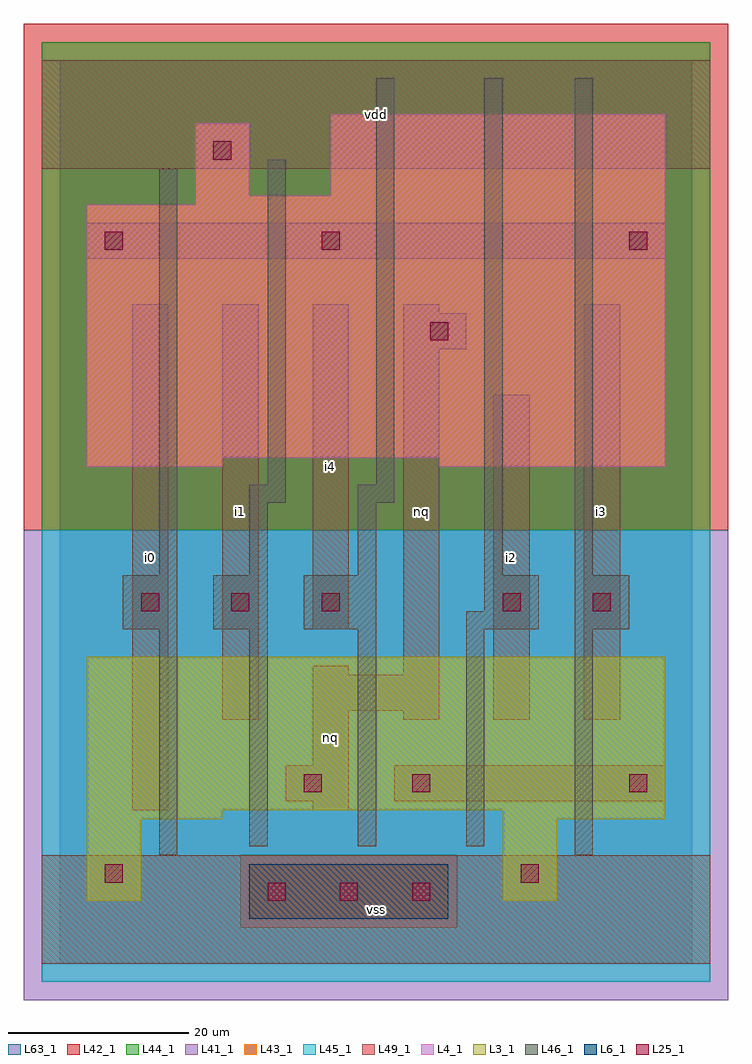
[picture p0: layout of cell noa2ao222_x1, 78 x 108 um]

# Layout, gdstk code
import gdstk
lib = gdstk.Library(unit=1e-6, precision=1e-09)
def R(c, l, rs):  # rectangles x0, y0, x1, y1
    for r in rs: c.add(gdstk.rectangle(r[:2], r[2:], *l))
def A(c, l, x, y, w, h, nx, ny, dx, dy):  # array of equal rectangles
    R(c, l, [(x+i*dx, y+j*dy, x+i*dx+w, y+j*dy+h) for i in range(nx) for j in range(ny)])
L3_1 = (3, 1)
L4_1 = (4, 1)
L6_1 = (6, 1)
L25_1 = (25, 1)
L41_1 = (41, 1)
L42_1 = (42, 1)
L43_1 = (43, 1)
L44_1 = (44, 1)
L45_1 = (45, 1)
L46_1 = (46, 1)
L49_1 = (49, 1)
L63_1 = (63, 1)

noa2ao222_x1 = lib.new_cell('noa2ao222_x1')
R(noa2ao222_x1, L3_1, [(3,7,9,16), (49,7,55,16), (3,16,18,17), (49,16,67,17), (3,17,67,34)])
R(noa2ao222_x1, L4_1, [(3,55,18,56), (42,55,67,56), (3,56,67,84), (15,84,67,85), (15,85,21,93), (30,85,67,94)])
R(noa2ao222_x1, L6_1, [(21,5,43,11), (21,5,43,11)])
A(noa2ao222_x1, L25_1, 23, 7, 2, 2, 3, 1, 8, 0)
A(noa2ao222_x1, L25_1, 9, 39, 2, 2, 3, 1, 10, 0)
R(noa2ao222_x1, L25_1, [(5,9,7,11), (51,9,53,11), (27,19,29,21), (39,19,41,21), (63,19,65,21), (49,39,51,41), (59,39,61,41), (41,69,43,71), (5,79,7,81), (29,79,31,81), (63,79,65,81), (17,89,19,91)])
R(noa2ao222_x1, L41_1, [(-4,-4,74,48)])
R(noa2ao222_x1, L42_1, [(-4,48,74,104)])
R(noa2ao222_x1, L43_1, [(21,5,43,11), (3,7,9,16), (49,7,55,16), (3,16,18,17), (49,16,67,17), (3,17,67,34), (3,55,18,56), (42,55,67,56), (3,56,67,84), (15,84,67,85), (15,85,21,93), (30,85,67,94)])
R(noa2ao222_x1, L44_1, [(20,4,44,12), (-2,48,72,102)])
R(noa2ao222_x1, L45_1, [(-2,-2,72,4), (-2,4,20,12), (44,4,72,12), (-2,12,72,48)])
A(noa2ao222_x1, L46_1, 21, 13, 2, 24, 3, 1, 12, 0)
R(noa2ao222_x1, L46_1, [(11,12,13,37), (57,12,59,37), (7,37,13,43), (17,37,23,43), (27,37,35,43), (45,37,53,39), (57,37,63,43), (47,39,53,43), (11,43,13,88), (21,43,23,51), (33,43,35,51), (47,43,49,98), (57,43,59,98), (21,51,25,53), (33,51,37,53), (23,53,25,89), (35,53,37,98)])
R(noa2ao222_x1, L49_1, [(-2,0,72,12), (8,17,12,73), (28,17,32,18), (25,18,32,22), (37,18,67,22), (28,22,32,28), (18,27,22,73), (38,27,42,28), (48,27,52,63), (58,27,62,73), (28,28,42,32), (28,32,32,33), (38,32,42,68), (28,37,32,73), (38,68,45,72), (38,72,42,73), (3,78,67,82), (-2,88,72,100)])
R(noa2ao222_x1, L63_1, [(0,0,70,100)])
noa2ao222_x1.add(gdstk.Label('i0', (10,45), layer=49, texttype=1))
noa2ao222_x1.add(gdstk.Label('nq', (30,25), layer=49, texttype=1))
noa2ao222_x1.add(gdstk.Label('i1', (20,50), layer=49, texttype=1))
noa2ao222_x1.add(gdstk.Label('i4', (30,55), layer=49, texttype=1))
noa2ao222_x1.add(gdstk.Label('vss', (35,6), layer=49, texttype=1))
noa2ao222_x1.add(gdstk.Label('i2', (50,45), layer=49, texttype=1))
noa2ao222_x1.add(gdstk.Label('nq', (40,50), layer=49, texttype=1))
noa2ao222_x1.add(gdstk.Label('vdd', (35,94), layer=49, texttype=1))
noa2ao222_x1.add(gdstk.Label('i3', (60,50), layer=49, texttype=1))

lib.write_gds('noa2ao222_x1.gds')
